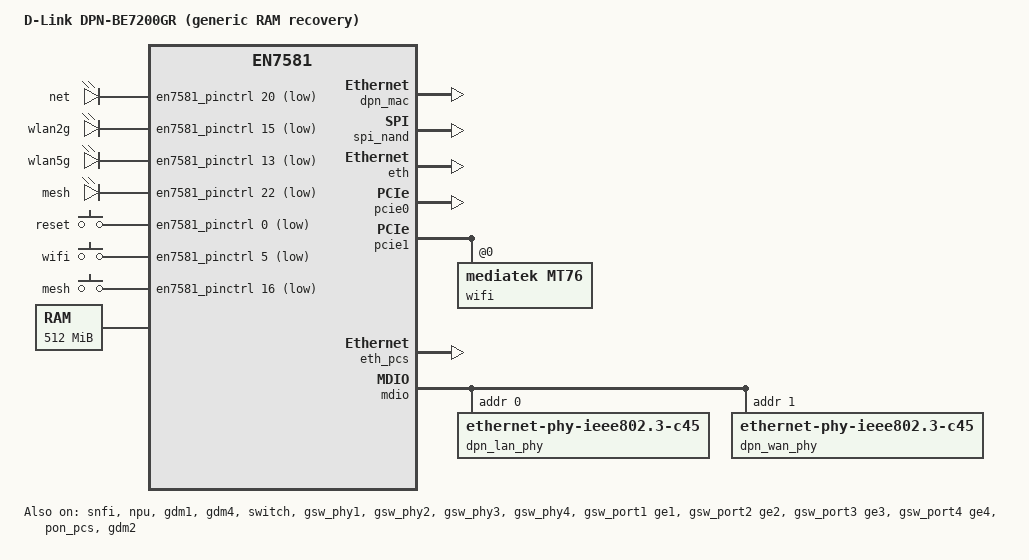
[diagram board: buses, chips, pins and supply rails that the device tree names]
// SPDX-License-Identifier: GPL-2.0-or-later OR MIT
/* Generic RAM recovery: runtime ART NVMEM, no embedded device identity. */
// SPDX-License-Identifier: GPL-2.0-or-later OR MIT

/dts-v1/;
#include "an7581.dtsi"
#include <dt-bindings/input/input.h>
#include <dt-bindings/gpio/gpio.h>

/ {
	model = "D-Link DPN-BE7200GR (experimental RAM only)";
	compatible = "dlink,dpn-be7200gr-ram", "airoha,an7581", "airoha,en7581";

	leds {
		compatible = "gpio-leds";
		led_net { label = "net"; gpios = <&en7581_pinctrl 20 GPIO_ACTIVE_LOW>; default-state = "off"; };
		led_wlan2g { label = "wlan2g"; gpios = <&en7581_pinctrl 15 GPIO_ACTIVE_LOW>; default-state = "off"; };
		led_wlan5g { label = "wlan5g"; gpios = <&en7581_pinctrl 13 GPIO_ACTIVE_LOW>; default-state = "off"; };
		led_mesh { label = "mesh"; gpios = <&en7581_pinctrl 22 GPIO_ACTIVE_LOW>; default-state = "off"; };
	};

	keys {
		compatible = "gpio-keys-polled";
		poll-interval = <20>;
		reset {
			label = "reset";
			linux,code = <KEY_RESTART>;
			gpios = <&en7581_pinctrl 0 GPIO_ACTIVE_LOW>;
			debounce-interval = <60>;
		};
		wifi {
			label = "wifi";
			linux,code = <KEY_RFKILL>;
			gpios = <&en7581_pinctrl 5 GPIO_ACTIVE_LOW>;
			debounce-interval = <60>;
		};
		mesh {
			label = "mesh";
			linux,code = <KEY_WPS_BUTTON>;
			gpios = <&en7581_pinctrl 16 GPIO_ACTIVE_LOW>;
			debounce-interval = <60>;
		};
	};

	aliases {
		serial0 = &uart1;
	};

	chosen {
		stdout-path = "serial0:115200n8";
		bootargs = "console=ttyS0,115200n8 earlycon loglevel=8";
	};

	memory@80000000 {
		device_type = "memory";
		reg = <0 0x80000000 0 0x20000000>;
	};

	reserved-memory {

		vendor-probe-reserved@98000000 {
			no-map;
			reg = <0 0x98000000 0 0x08000000>;
		};

		optee@8a800000 {
			no-map;
			reg = <0 0x8a800000 0 0x800000>;
		};
	};
};


&cpufreq {
	status = "disabled";
};


&snfi {
	status = "disabled";
};
&spi_nand {
	status = "disabled";
};


&eth {
	status = "disabled";
};
&npu {
	status = "disabled";
};
&pcie0 {
	status = "disabled";
};
&pcie1 {
	status = "disabled";
};
&pcie2 {
	status = "disabled";
};

// SPDX-License-Identifier: GPL-2.0-or-later OR MIT

#include <dt-bindings/phy/phy.h>
/ {
	model = "D-Link DPN-BE7200GR (experimental RAM Ethernet)";
};

&en7581_pinctrl {
	gpio-ranges = <&en7581_pinctrl 0 13 50>;
	dpn_mdio_pins: dpn-mdio-pins {
		mux {
			function = "mdio";
			groups = "mdio";
		};
	};
};

&eth {
	status = "okay";

	/delete-property/ airoha,npu;
};

&gdm1 {
	status = "okay";

};

&eth_pcs {
	status = "okay";
};

&gdm4 {
	status = "okay";
	phy-handle = <&dpn_lan_phy>;
	phy-mode = "usxgmii";
	managed = "in-band-status";

openwrt,netdev-name = "lan10";
};

&switch {
	status = "okay";
	pinctrl-names = "default";
	pinctrl-0 = <&dpn_mdio_pins>;
};

&mdio {
	dpn_lan_phy: ethernet-phy@0 {
		compatible = "ethernet-phy-ieee802.3-c45";
		reg = <0>;
		tx-polarity = <PHY_POL_INVERT>;
		rx-polarity = <PHY_POL_NORMAL>;

	};
};

&gsw_phy1 { status = "okay"; };
&gsw_phy2 { status = "okay"; };
&gsw_phy3 { status = "okay"; };
&gsw_phy4 { status = "okay"; };
&gsw_port1 { status = "okay"; label = "ge1"; };
&gsw_port2 { status = "okay"; label = "ge2"; };
&gsw_port3 { status = "okay"; label = "ge3"; };
&gsw_port4 { status = "okay"; label = "ge4"; };

// SPDX-License-Identifier: GPL-2.0-or-later OR MIT

/ {
	model = "D-Link DPN-BE7200GR (experimental RAM Wi-Fi)";
};

&pcie0 {
	status = "okay";
};

&pcie1 {
	status = "okay";

	pcie@0,0 {
		reg = <0 0 0 0 0>;
		#address-cells = <3>;
		#size-cells = <2>;
		ranges;

		wifi@0,0 {
			compatible = "mediatek,mt76";
			reg = <0 0 0 0 0>;
			nvmem-cells = <&dpn_eeprom>, <&dpn_mac 1>;
            nvmem-cell-names = "eeprom", "mac-address";
            #address-cells = <1>;
            #size-cells = <0>;
            band@0 { reg = <0>; nvmem-cells = <&dpn_mac 1>; nvmem-cell-names = "mac-address"; };
            band@1 { reg = <1>; nvmem-cells = <&dpn_mac 4>; nvmem-cell-names = "mac-address"; };
		};
	};
};

// SPDX-License-Identifier: GPL-2.0-or-later OR MIT

/ {
    model = "D-Link DPN-BE7200GR (RAM automatic Wi-Fi and ports)";
    chosen {
        bootargs = "console=ttyS0,115200n8 earlycon loglevel=7 rdinit=/init";
    };
};
&pon_pcs { status = "okay"; };
&gdm2 {
    status = "okay";
    managed = "in-band-status";
    phy-handle = <&dpn_wan_phy>;
    phy-mode = "usxgmii";

openwrt,netdev-name = "wan10";
};
&mdio {
    dpn_wan_phy: ethernet-phy@1 {
        compatible = "ethernet-phy-ieee802.3-c45";
        reg = <1>;
        tx-polarity = <PHY_POL_INVERT>;
        rx-polarity = <PHY_POL_NORMAL>;
    };
};

// SPDX-License-Identifier: GPL-2.0-or-later OR MIT

&npu { status = "okay"; };
&eth { airoha,npu = <&npu>; };

// SPDX-License-Identifier: GPL-2.0-or-later OR MIT

&snfi { status = "okay"; };
&spi_nand {
    status = "okay";
    spi-max-frequency = <20000000>;
    spi-tx-bus-width = <1>;
    spi-rx-bus-width = <1>;
    read-only;
};

/ {
 model = "D-Link DPN-BE7200GR (generic RAM recovery)";
 dpn-art {
  compatible = "dlink,dpn-be7200gr-art";
  nvmem-layout {
   compatible = "fixed-layout";
   #address-cells = <1>;
   #size-cells = <1>;
   dpn_eeprom: eeprom@40000 { reg = <0x40000 0x1e00>; };
   dpn_mac: mac@301055 {
    compatible = "mac-base";
    reg = <0x301055 0x11>;
    #nvmem-cell-cells = <1>;
   };
  };
 };
};
&gdm1 { nvmem-cells = <&dpn_mac 0>; nvmem-cell-names = "mac-address"; };
&gdm4 { nvmem-cells = <&dpn_mac 2>; nvmem-cell-names = "mac-address"; };
&gdm2 { nvmem-cells = <&dpn_mac 3>; nvmem-cell-names = "mac-address"; };
